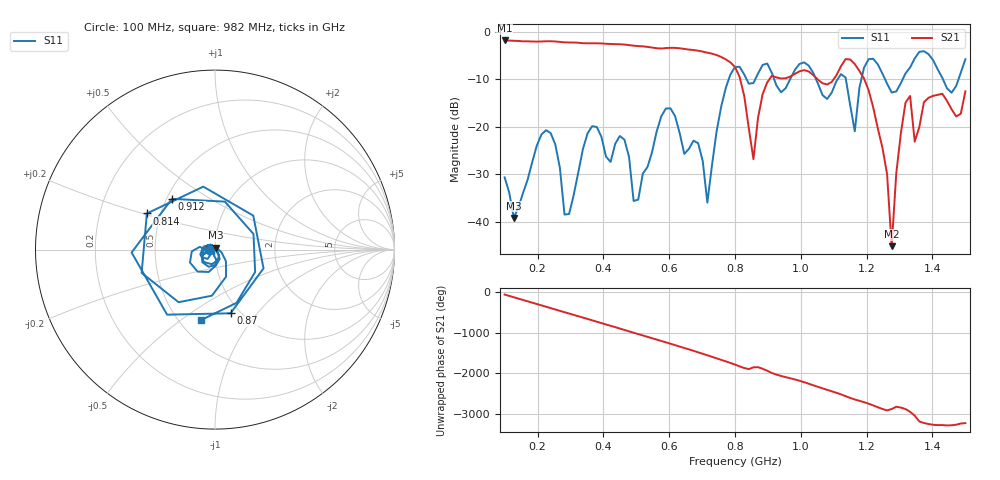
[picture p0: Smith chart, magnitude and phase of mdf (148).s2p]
! NanoVNA-App
! Date: 2025-09-26 09:40:53
! Start: 100MHz Stop: 1,5GHz Points: 101
! S-Parameter data: F S11 S21 S12 S22
# Hz S RI R 50
!  Frequency  S11_Real  S11_Imag  S21_Real  S21_Imag  S12_Real  S12_Imag  S22_Real  S22_Imag
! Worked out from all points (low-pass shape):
!   101 points, 100 MHz to 1.5 GHz, reference 50 ohm
!   highest |S21| = -1.79 dB at 100 MHz (marker M1); lowest = -45.1 dB at 1.276 GHz (marker M2)
!   |S21| within 3 dB of the highest: start of sweep to 740.5 MHz
!   lowest |S11| = -39.2 dB at 128 MHz (marker M3), VSWR 1.02, Z = 50.3 + j1.07 ohm
!   |S11| at or under -10 dB: start of sweep to 780.9 MHz; 1.047 GHz to 1.112 GHz (65.02 MHz wide, 6.03 % of centre); 1.256 GHz to 1.309 GHz (53.14 MHz wide, 4.14 % of centre)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
!   S12 and S22 are empty: the file has one direction only
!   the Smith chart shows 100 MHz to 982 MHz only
!   S11 on the Smith chart (normalised r, x): 100 MHz: 0.94, -0.01; 814 MHz: 0.42, +0.21; 870 MHz: 0.90, -0.74; 912 MHz: 0.53, +0.35; 982 MHz: 0.64, -0.60
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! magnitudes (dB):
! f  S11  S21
! 100 MHz  -30.6  -1.8
! 128 MHz  -39.2  -1.9
! 212 MHz  -21.6  -2.0
! 282 MHz  -38.5  -2.2
! 338 MHz  -24.7  -2.4
! 464 MHz  -22.7  -2.6
! 506 MHz  -35.3  -3.0
! 576 MHz  -17.8  -3.5
! 716 MHz  -35.9  -4.4
! 800 MHz  -7.4  -7.4
! 814 MHz  -7.3  -9.5
! 856 MHz  -10.8  -26.8
! 870 MHz  -8.7  -18.1
! 912 MHz  -8.6  -9.2
! 982 MHz  -8.0  -8.8
! 1.038 GHz  -8.7  -9.1
! 1.164 GHz  -20.9  -6.8
! 1.192 GHz  -7.5  -9.8
! 1.262 GHz  -10.9  -29.9
! 1.276 GHz  -12.7  -45.1
! 1.318 GHz  -8.7  -14.9
! 1.5 GHz  -5.7  -12.5
